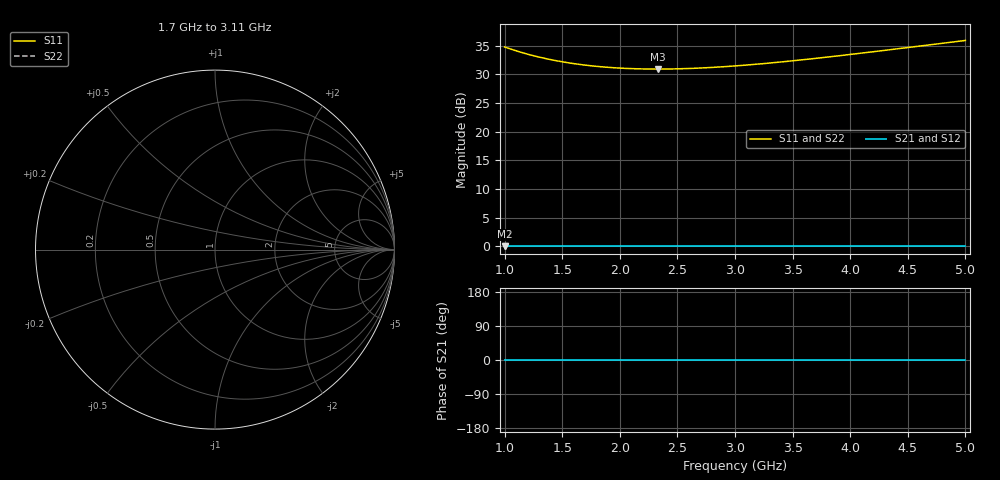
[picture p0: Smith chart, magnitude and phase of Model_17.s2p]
# GHZ S RI R 50
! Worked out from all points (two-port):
!   401 points, 1 GHz to 5 GHz, reference 50 ohm
!   highest |S21| = 0.00 dB at 1 GHz (marker M1); lowest = 0.0 dB at 1 GHz (marker M2)
!   |S21| within 3 dB of the highest: start of sweep to end of sweep
!   lowest |S11| = 30.9 dB at 2.33 GHz (marker M3)
!   |S11| at or under -10 dB: nowhere
!   |S22| runs from 30.9 to 35.9 dB; largest |S21 - S12| = 0
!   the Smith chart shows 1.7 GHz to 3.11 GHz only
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1  54.88 0  1 0  1 0  54.88 0
1.15  49.01 0  1 0  1 0  49.01 0
1.22  46.84 0  1 0  1 0  46.84 0
1.3  44.73 0  1 0  1 0  44.73 0
1.38  42.92 0  1 0  1 0  42.92 0
1.47  41.22 0  1 0  1 0  41.22 0
1.57  39.66 0  1 0  1 0  39.66 0
1.67  38.39 0  1 0  1 0  38.39 0
1.82  36.97 0  1 0  1 0  36.97 0
1.98  35.96 0  1 0  1 0  35.96 0
2.15  35.35 0  1 0  1 0  35.35 0
2.33  35.16 0  1 0  1 0  35.16 0
2.34  35.16 0  1 0  1 0  35.16 0
2.5  35.33 0  1 0  1 0  35.33 0
2.66  35.77 0  1 0  1 0  35.77 0
3  37.45 0  1 0  1 0  37.45 0
3.33  39.94 0  1 0  1 0  39.94 0
3.67  43.27 0  1 0  1 0  43.27 0
4  47.17 0  1 0  1 0  47.17 0
4.34  51.81 0  1 0  1 0  51.81 0
4.63  56.25 0  1 0  1 0  56.25 0
5  62.51 0  1 0  1 0  62.51 0
